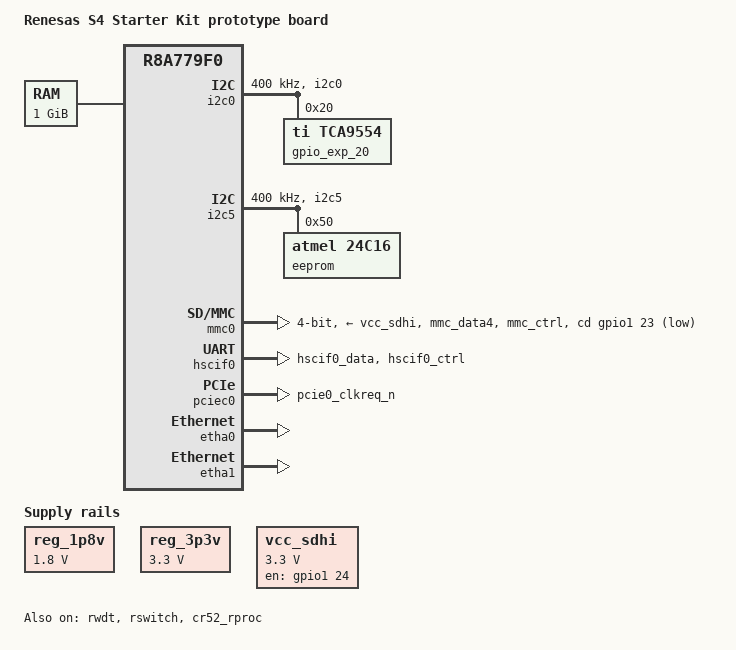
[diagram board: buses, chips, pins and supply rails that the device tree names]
// SPDX-License-Identifier: (GPL-2.0 or MIT)
/*
 * Device Tree Source for the S4 Starter Kit prototype board
 *
 * Copyright (C) 2022 Renesas Electronics Corp.
 */

/dts-v1/;
#include <dt-bindings/gpio/gpio.h>
#include "r8a779f0.dtsi"

/ {
	model = "Renesas S4 Starter Kit prototype board";
	compatible = "renesas,s4sk-prototype", "renesas,r8a779f0";

	aliases {
		serial0 = &hscif0;
		// serial1 = &hscif1;
		eth0	= &rswitch;
	};

	chosen {
		stdout-path = "serial0:921600n8";
	};

	memory@48000000 {
		device_type = "memory";
		/* first 128MB is reserved for secure area. */
		linux,usable-memory = <0x0 0x48000000 0x0 0x38000000>;
	};

	memory@480000000 {
		device_type = "memory";
		reg = <0x4 0x40000000 0x0 0x40000000>;
	};

	reserved-memory {
		#address-cells = <2>;
		#size-cells = <2>;
		ranges;

		cr52_ram: cr52_ram@e2100000 {
			no-map;
			reg = <0x0 0xe2100000 0x0 0x200000>;
		};

		vdev0vring0: vdev0vring0@42000000 {
			no-map;
			reg = <0x0 0x42000000 0x0 0x1000>;
		};

		vdev0vring1: vdev0vring1@42001000 {
			no-map;
			reg = <0x0 0x42001000 0x0 0x1000>;
		};

		vdev0buffer: vdev0buffer@42002000 {
			no-map;
			reg = <0x0 0x42002000 0x0 0x4000>;
		};
	};

	reg_1p8v: regulator-1p8v {
		compatible = "regulator-fixed";
		regulator-name = "fixed-1.8V";
		regulator-min-microvolt = <1800000>;
		regulator-max-microvolt = <1800000>;
		regulator-boot-on;
		regulator-always-on;
	};

	reg_3p3v: regulator-3p3v {
		compatible = "regulator-fixed";
		regulator-name = "fixed-3.3V";
		regulator-min-microvolt = <3300000>;
		regulator-max-microvolt = <3300000>;
		regulator-boot-on;
		regulator-always-on;
	};

	vcc_sdhi: regulator-vcc-sdhi {
		compatible = "regulator-fixed";

		regulator-name = "SDHI Vcc";
		regulator-min-microvolt = <3300000>;
		regulator-max-microvolt = <3300000>;

		gpio = <&gpio1 24 GPIO_ACTIVE_HIGH>;
		enable-active-high;
	};
};

&extal_clk {
	clock-frequency = <20000000>;
};

&extalr_clk {
	clock-frequency = <32768>;
};

&i2c0 {
	pinctrl-0 = <&i2c0_pins>;
	pinctrl-names = "default";

	status = "okay";
	clock-frequency = <400000>;

	gpio_exp_20: gpio@20 {
		compatible = "ti,tca9554";
		reg = <0x20>;
		gpio-controller;
		#gpio-cells = <2>;
	};
};

&i2c5 {
	pinctrl-0 = <&i2c5_pins>;
	pinctrl-names = "default";

	status = "okay";
	clock-frequency = <400000>;

	eeprom@50 {
		compatible = "atmel,24c16";
		reg = <0x50>;
		pagesize = <16>;
	};
};

&mmc0 {
	pinctrl-0 = <&sd_pins>;
	pinctrl-1 = <&sd_pins>;
	pinctrl-names = "default", "state_uhs";

	vmmc-supply = <&vcc_sdhi>;
	vqmmc-supply = <&vcc_sdhi>;
	cd-gpios = <&gpio1 23 GPIO_ACTIVE_LOW>;
	bus-width = <4>;
	status = "okay";
};

&pfc {
	pinctrl-0 = <&scif_clk_pins>;
	pinctrl-names = "default";

	i2c0_pins: i2c0 {
		groups = "i2c0";
		function = "i2c0";
	};

	i2c5_pins: i2c5 {
		groups = "i2c5";
		function = "i2c5";
	};

	sd_pins: sd {
		groups = "mmc_data4", "mmc_ctrl";
		function = "mmc";
		power-source = <3300>;
	};

	qspi0_pins: qspi0 {
		groups = "qspi0_ctrl", "qspi0_data4";
		function = "qspi0";
	};

	scif0_pins: scif0 {
		groups = "scif0_data", "scif0_ctrl";
		function = "scif0";
	};

	hscif0_pins: hscif0 {
		groups = "hscif0_data", "hscif0_ctrl";
		function = "hscif0";
	};

	hscif1_pins: hscif1 {
		groups = "hscif1_data", "hscif1_ctrl";
		function = "hscif1";
	};

	scif_clk_pins: scif_clk {
		groups = "scif_clk";
		function = "scif_clk";
	};

	pcie0_pins: pcie0 {
		groups = "pcie0_clkreq_n";
		function = "pcie";
	};

	pcie1_pins: pcie1 {
		groups = "pcie1_clkreq_n";
		function = "pcie";
	};

	tsn0_pins: tsn0 {
		mux {
			groups = "tsn0_link", "tsn0_mdio";
			function = "tsn0";
			drive-strength = <18>;
			power-source = <3300>;
		};

		pins_mdio {
			groups = "tsn0_mdio";
			drive-strength = <18>;
			power-source = <3300>;
		};
	};

	tsn1_pins: tsn1 {
		mux {
			groups = "tsn1_link", "tsn1_mdio";
			function = "tsn1";
			drive-strength = <18>;
			power-source = <3300>;
		};

		pins_mdio {
			groups = "tsn1_mdio";
			drive-strength = <18>;
			power-source = <3300>;
		};
	};
};

&rwdt {
	timeout-sec = <60>;
	status = "okay";
};

&scif0 {
	pinctrl-0 = <&scif0_pins>;
	pinctrl-names = "default";

	uart-has-rtscts;
	/* Please use exclusively to the hscif1 node */
	status = "disabled";
};

&hscif0 {
	pinctrl-0 = <&hscif0_pins>;
	pinctrl-names = "default";

	uart-has-rtscts;
	status = "okay";
};

&hscif1 {
	pinctrl-0 = <&hscif1_pins>;
	pinctrl-names = "default";

	uart-has-rtscts;
	/* Please use exclusively to the scif0 node */
	status = "disabled";
};

&scif_clk {
	clock-frequency = <24000000>;
};

&pcie_bus_clk {
	clock-frequency = <100000000>;
};

&pciec0 {
	status = "okay";
	pinctrl-0 = <&pcie0_pins>;
	pinctrl-names = "default";
};

&pciec0_ep {
	status = "disabled";
	pinctrl-0 = <&pcie0_pins>;
	pinctrl-names = "default";
};

&pciec1 {
	status = "disabled";
	pinctrl-0 = <&pcie1_pins>;
	pinctrl-names = "default";
};

&pciec1_ep {
	status = "disabled";
	pinctrl-0 = <&pcie1_pins>;
	pinctrl-names = "default";
};

&rswitch {
	status = "okay";
	pinctrl-0 = <&tsn0_pins &tsn1_pins>;
	pinctrl-names = "default";
	#address-cells = <1>;
	#size-cells = <0>;

	ports {
		#address-cells = <1>;
		#size-cells = <0>;
		tsn0: port@0 {
			reg = <0>;
			phy-mode = "usxgmii";
			phy-handle = <&etha0>;
			#address-cells = <1>;
			#size-cells = <0>;
			etha0: ethernet-phy@0 {
				reg = <1>;
				compatible = "ethernet-phy-ieee802.3-c45";
			};
		};
		tsn1: port@1 {
			reg = <1>;
			phy-mode = "usxgmii";
			phy-handle = <&etha1>;
			#address-cells = <1>;
			#size-cells = <0>;
			etha1: ethernet-phy@1 {
				reg = <2>;
				compatible = "ethernet-phy-ieee802.3-c45";
			};
		};
	};
};

&cr52_rproc {
	memory-region = <&cr52_ram>, <&vdev0vring0>, <&vdev0vring1>, <&vdev0buffer>;
	mboxes = <&mfis 0>, <&mfis 1>;
	mbox-names = "tx", "rx";
	rcar,syscfg-rsc-tbl = <&mfisarembr 0x0 0xFFFFFFFF>;
	status = "okay";
};
